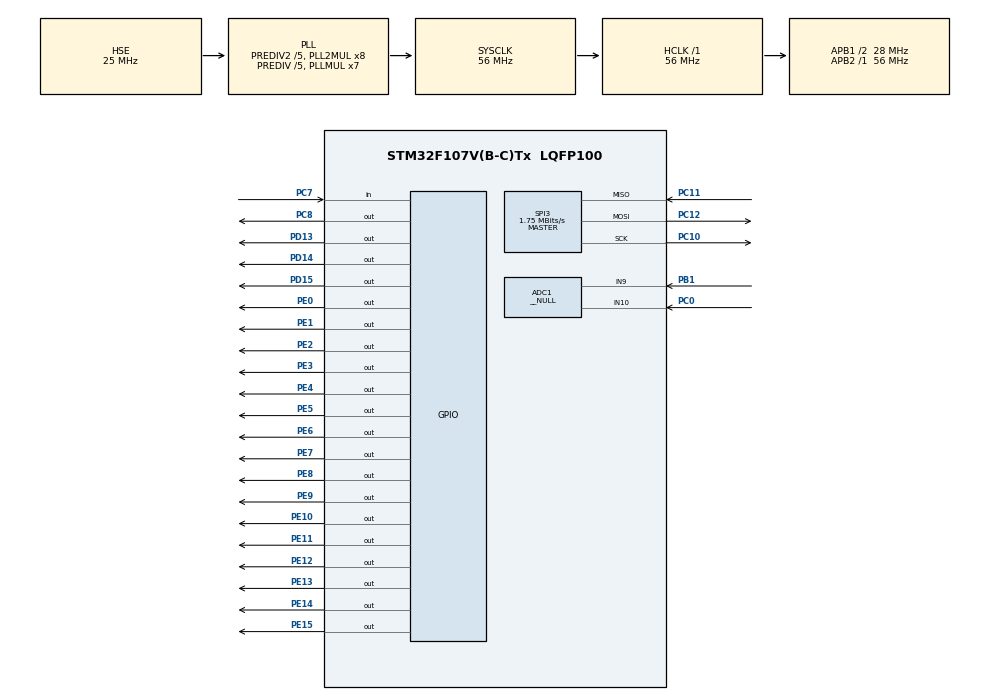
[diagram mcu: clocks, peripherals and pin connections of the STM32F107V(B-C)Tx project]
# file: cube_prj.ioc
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ADC1.Channel-0\#ChannelRegularConversion=ADC_CHANNEL_TEMPSENSOR
ADC1.Channel-1\#ChannelRegularConversion=ADC_CHANNEL_10
ADC1.Channel-2\#ChannelRegularConversion=ADC_CHANNEL_9
ADC1.ContinuousConvMode=ENABLE
ADC1.DataAlign=ADC_DATAALIGN_RIGHT
ADC1.DiscontinuousConvMode=DISABLE
ADC1.EnableAnalogWatchDog=false
ADC1.EnableRegularConversion=ENABLE
ADC1.ExternalTrigConvEdgeChoice=NONE
ADC1.InjNumberOfConversion=0
ADC1.Mode=__NULL
ADC1.NbrOfConversion=3
ADC1.NbrOfConversionFlag=1
ADC1.Rank-0\#ChannelRegularConversion=1
ADC1.Rank-1\#ChannelRegularConversion=2
ADC1.Rank-2\#ChannelRegularConversion=3
ADC1.SamplingTime-0\#ChannelRegularConversion=ADC_SAMPLETIME_239CYCLES_5
ADC1.SamplingTime-1\#ChannelRegularConversion=ADC_SAMPLETIME_239CYCLES_5
ADC1.SamplingTime-2\#ChannelRegularConversion=ADC_SAMPLETIME_239CYCLES_5
ADC1.ScanConvMode=ADC_SCAN_ENABLE
ADC1.master=1
Dma.ADC1.0.Direction=DMA_PERIPH_TO_MEMORY
Dma.ADC1.0.Instance=DMA1_Channel1
Dma.ADC1.0.MemDataAlignment=DMA_MDATAALIGN_HALFWORD
Dma.ADC1.0.MemInc=DMA_MINC_ENABLE
Dma.ADC1.0.Mode=DMA_CIRCULAR
Dma.ADC1.0.PeriphDataAlignment=DMA_PDATAALIGN_HALFWORD
Dma.ADC1.0.PeriphInc=DMA_PINC_DISABLE
Dma.ADC1.0.Priority=DMA_PRIORITY_MEDIUM
Dma.Request0=ADC1
FREERTOS.Tasks01=defaultTask,0,128,StartDefaultTask,Default;emwin_task,0,128,start_emwin_task,Default;ad_task,1,128,start_ad_task,Default
Mcu.Family=STM32F1
Mcu.Name=STM32F107V(B-C)Tx
Mcu.Package=LQFP100
NVIC.ADC1_2_IRQn=true\:5\:0\:false\:false\:true\:true
NVIC.DMA1_Channel1_IRQn=true\:5\:0\:false\:false\:true\:true
NVIC.PriorityGroup=NVIC_PRIORITYGROUP_4
NVIC.RTC_Alarm_IRQn=true\:5\:0\:false\:false\:true\:true
NVIC.RTC_IRQn=true\:5\:0\:false\:false\:true\:true
NVIC.SPI3_IRQn=true\:5\:0\:false\:false\:true\:true
NVIC.TIM6_IRQn=true\:5\:0\:true\:false\:true\:true
NVIC.TIM7_IRQn=true\:0\:0\:false\:false\:true\:false
NVIC.TimeBase=TIM7_IRQn
NVIC.TimeBaseIP=TIM7
OSC_IN.Mode=HSE-External-Oscillator
OSC_IN.Signal=RCC_OSC_IN
OSC_OUT.Mode=HSE-External-Oscillator
OSC_OUT.Signal=RCC_OSC_OUT
PA13.Mode=Serial_Wire
PA13.Signal=SYS_JTMS-SWDIO
PA14.Mode=Serial_Wire
PA14.Signal=SYS_JTCK-SWCLK
PB1.Signal=ADCx_IN9
PC0.Signal=ADCx_IN10
PC10.Mode=Full_Duplex_Master
PC10.Signal=SPI3_SCK
PC11.GPIO_PuPd=GPIO_PULLUP
PC11.Mode=Full_Duplex_Master
PC11.Signal=SPI3_MISO
PC12.Mode=Full_Duplex_Master
PC12.Signal=SPI3_MOSI
PC14-OSC32_IN.Mode=LSE-External-Oscillator
PC14-OSC32_IN.Signal=RCC_OSC32_IN
PC15-OSC32_OUT.Mode=LSE-External-Oscillator
PC15-OSC32_OUT.Signal=RCC_OSC32_OUT
PC7.Signal=GPIO_Input
PC8.GPIO_Speed=GPIO_SPEED_FREQ_HIGH
PC8.Signal=GPIO_Output
PD13.Signal=GPIO_Output
PD14.Signal=GPIO_Output
PD15.Signal=GPIO_Output
PE0.GPIO_Speed=GPIO_SPEED_FREQ_HIGH
PE0.Signal=GPIO_Output
PE1.GPIO_Speed=GPIO_SPEED_FREQ_HIGH
PE1.Signal=GPIO_Output
PE10.GPIO_Speed=GPIO_SPEED_FREQ_HIGH
PE10.Signal=GPIO_Output
PE11.GPIO_Speed=GPIO_SPEED_FREQ_HIGH
PE11.Signal=GPIO_Output
PE12.GPIO_Speed=GPIO_SPEED_FREQ_HIGH
PE12.Signal=GPIO_Output
PE13.GPIO_Speed=GPIO_SPEED_FREQ_HIGH
PE13.Signal=GPIO_Output
PE14.GPIO_Speed=GPIO_SPEED_FREQ_HIGH
PE14.Signal=GPIO_Output
PE15.GPIO_Speed=GPIO_SPEED_FREQ_HIGH
PE15.Signal=GPIO_Output
PE2.GPIO_Speed=GPIO_SPEED_FREQ_HIGH
PE2.Signal=GPIO_Output
PE3.GPIO_Speed=GPIO_SPEED_FREQ_HIGH
PE3.Signal=GPIO_Output
PE4.GPIO_Speed=GPIO_SPEED_FREQ_HIGH
PE4.Signal=GPIO_Output
PE5.GPIO_Speed=GPIO_SPEED_FREQ_HIGH
PE5.Signal=GPIO_Output
PE6.GPIO_Speed=GPIO_SPEED_FREQ_HIGH
PE6.Signal=GPIO_Output
PE7.GPIO_Speed=GPIO_SPEED_FREQ_HIGH
PE7.Signal=GPIO_Output
PE8.GPIO_Speed=GPIO_SPEED_FREQ_HIGH
PE8.Signal=GPIO_Output
PE9.GPIO_Speed=GPIO_SPEED_FREQ_HIGH
PE9.Signal=GPIO_Output
ProjectManager.HeapSize=0x400
ProjectManager.StackSize=0x800
ProjectManager.TargetToolchain=MDK-ARM V5
RCC.ADCPresc=RCC_ADCPCLK2_DIV4
RCC.AHBFreq_Value=56000000
RCC.APB1CLKDivider=RCC_HCLK_DIV2
RCC.APB1Freq_Value=28000000
RCC.APB1TimFreq_Value=56000000
RCC.APB2Freq_Value=56000000
RCC.APB2TimFreq_Value=56000000
RCC.HCLKFreq_Value=56000000
RCC.HSEDivPLL=RCC_HSE_PREDIV_DIV5
RCC.HSE_VALUE=25000000
RCC.HSIState=RCC_HSI_ON
RCC.PLLMUL=RCC_PLL_MUL7
RCC.PLLSourceVirtual=RCC_PLLSOURCE_HSE
RCC.Prediv1Source=RCC_PREDIV1_SOURCE_PLL2
RCC.Prediv2=RCC_HSE_PREDIV2_DIV5
RCC.SYSCLKFreq_VALUE=56000000
RCC.SYSCLKSource=RCC_SYSCLKSOURCE_PLLCLK
RCC.USBFreq_Value=37333333.333333336
RTC.AutoPrediv=RTC_AUTO_1_SECOND
RTC.Date=22
RTC.Format=RTC_FORMAT_BCD
RTC.Hours=2
RTC.Minutes=57
RTC.Month=RTC_MONTH_JULY
RTC.Seconds=0
RTC.WeekDay=RTC_WEEKDAY_SATURDAY
RTC.Year=16
SH.ADCx_IN10.0=ADC1_IN10,IN10
SH.ADCx_IN9.0=ADC1_IN9,IN9
SPI3.BaudRatePrescaler=SPI_BAUDRATEPRESCALER_16
SPI3.CLKPhase=SPI_PHASE_2EDGE
SPI3.CLKPolarity=SPI_POLARITY_HIGH
SPI3.CRCCalculation=SPI_CRCCALCULATION_DISABLE
SPI3.CalculateBaudRate=1.75 MBits/s
SPI3.Mode=SPI_MODE_MASTER
TIM6.Period=2
TIM6.Prescaler=35999
TIM6.TIM_MasterOutputTrigger=TIM_TRGO_UPDATE
VP_ADC1_TempSens_Input.Mode=IN-TempSens
VP_CRC_VS_CRC.Mode=CRC_Activate
VP_FREERTOS_VS_ENABLE.Mode=Enabled
VP_RTC_No_RTC_Output.Mode=RTC_OUT_NO
VP_SYS_VS_tim7.Mode=TIM7
VP_TIM6_VS_ClockSourceINT.Mode=Enable_Timer
board=cube_prj

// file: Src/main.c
/**
  ******************************************************************************
  * File Name          : main.c
  * Description        : Main program body
  ******************************************************************************
  *
  * COPYRIGHT(c) 2016 STMicroelectronics
  *
  * Redistribution and use in source and binary forms, with or without modification,
  * are permitted provided that the following conditions are met:
  *   1. Redistributions of source code must retain the above copyright notice,
  *      this list of conditions and the following disclaimer.
  *   2. Redistributions in binary form must reproduce the above copyright notice,
  *      this list of conditions and the following disclaimer in the documentation
  *      and/or other materials provided with the distribution.
  *   3. Neither the name of STMicroelectronics nor the names of its contributors
  *      may be used to endorse or promote products derived from this software
  *      without specific prior written permission.
  *
  * THIS SOFTWARE IS PROVIDED BY THE COPYRIGHT HOLDERS AND CONTRIBUTORS "AS IS"
  * AND ANY EXPRESS OR IMPLIED WARRANTIES, INCLUDING, BUT NOT LIMITED TO, THE
  * IMPLIED WARRANTIES OF MERCHANTABILITY AND FITNESS FOR A PARTICULAR PURPOSE ARE
  * DISCLAIMED. IN NO EVENT SHALL THE COPYRIGHT HOLDER OR CONTRIBUTORS BE LIABLE
  * FOR ANY DIRECT, INDIRECT, INCIDENTAL, SPECIAL, EXEMPLARY, OR CONSEQUENTIAL
  * DAMAGES (INCLUDING, BUT NOT LIMITED TO, PROCUREMENT OF SUBSTITUTE GOODS OR
  * SERVICES; LOSS OF USE, DATA, OR PROFITS; OR BUSINESS INTERRUPTION) HOWEVER
  * CAUSED AND ON ANY THEORY OF LIABILITY, WHETHER IN CONTRACT, STRICT LIABILITY,
  * OR TORT (INCLUDING NEGLIGENCE OR OTHERWISE) ARISING IN ANY WAY OUT OF THE USE
  * OF THIS SOFTWARE, EVEN IF ADVISED OF THE POSSIBILITY OF SUCH DAMAGE.
  *
  ******************************************************************************
  */
#include "stm32f1xx_hal.h"
#include "cmsis_os.h"
#include "adc.h"
#include "crc.h"
#include "dma.h"
#include "rtc.h"
#include "spi.h"
#include "tim.h"
#include "gpio.h"

/* USER CODE BEGIN Includes */
/** STemwin Includes */
#include "gui.h"
#include "guidemo.h"
/** user drivers  Includes */
#include "touch.h"
#include "delay.h"
//#include "led.h"
//#include "key.h"
//#include "exti_dup.h"
//#include "tim_dup.h"
//#include "oxygen.h"
/** user interface  Includes */
#include "start_window.h"
#include "adjust_time_window.h"
#include "measure_window.h"
#include "sys_info_window.h"
#include "ui_drivers.h"
#include "adc_app.h"

/* USER CODE END Includes */

/* USER CODE BEGIN PV */
/* Private variables ---------------------------------------------------------*/

/* USER CODE END PV */

void SystemClock_Config(void);
void Error_Handler(void);
void MX_FREERTOS_Init(void);

/* USER CODE BEGIN PFP */
/* Private function prototypes -----------------------------------------------*/
void touch_calibrate(void);
/* USER CODE END PFP */

/* USER CODE BEGIN 0 */
extern GUI_CONST_STORAGE GUI_FONT GUI_FontMicrosoftYaHeiMono28;
/* USER CODE END 0 */

int main(void)
{

  /* USER CODE BEGIN 1 */
//    uint16_t i = 0;

  /* USER CODE END 1 */

  /* MCU Configuration----------------------------------------------------------*/

  /* Reset of all peripherals, Initializes the Flash interface and the Systick. */
  HAL_Init();

  /* Configure the system clock */
  SystemClock_Config();

  /* Initialize all configured peripherals */
  MX_GPIO_Init();
  MX_DMA_Init();
  MX_CRC_Init();
  MX_SPI3_Init();
  MX_TIM6_Init();
  MX_RTC_Init();
  MX_ADC1_Init();

  /* USER CODE BEGIN 2 */
    HAL_TIM_Base_Start_IT(&htim6);

  /* USER CODE END 2 */

  /* Call init function for freertos objects (in freertos.c) */
  MX_FREERTOS_Init();

  /* Start scheduler */
  osKernelStart();

  /* We should never get here as control is now taken by the scheduler */

  /* Infinite loop */
    while (1)
    {

  /* USER CODE BEGIN 3 */
        GUI_Delay(50);

    }
  /* USER CODE END 3 */

}

/** System Clock Configuration
*/
void SystemClock_Config(void)
{

  RCC_OscInitTypeDef RCC_OscInitStruct;
  RCC_ClkInitTypeDef RCC_ClkInitStruct;
  RCC_PeriphCLKInitTypeDef PeriphClkInit;

  RCC_OscInitStruct.OscillatorType = RCC_OSCILLATORTYPE_LSI|RCC_OSCILLATORTYPE_HSE;
  RCC_OscInitStruct.HSEState = RCC_HSE_ON;
  RCC_OscInitStruct.HSEPredivValue = RCC_HSE_PREDIV_DIV5;
  RCC_OscInitStruct.LSIState = RCC_LSI_ON;
  RCC_OscInitStruct.Prediv1Source = RCC_PREDIV1_SOURCE_PLL2;
  RCC_OscInitStruct.PLL.PLLState = RCC_PLL_ON;
  RCC_OscInitStruct.PLL.PLLSource = RCC_PLLSOURCE_HSE;
  RCC_OscInitStruct.PLL.PLLMUL = RCC_PLL_MUL7;
  RCC_OscInitStruct.PLL2.PLL2State = RCC_PLL2_ON;
  RCC_OscInitStruct.PLL2.PLL2MUL = RCC_PLL2_MUL8;
  RCC_OscInitStruct.PLL2.HSEPrediv2Value = RCC_HSE_PREDIV2_DIV5;
  if (HAL_RCC_OscConfig(&RCC_OscInitStruct) != HAL_OK)
  {
    Error_Handler();
  }

  RCC_ClkInitStruct.ClockType = RCC_CLOCKTYPE_HCLK|RCC_CLOCKTYPE_SYSCLK
                              |RCC_CLOCKTYPE_PCLK1|RCC_CLOCKTYPE_PCLK2;
  RCC_ClkInitStruct.SYSCLKSource = RCC_SYSCLKSOURCE_PLLCLK;
  RCC_ClkInitStruct.AHBCLKDivider = RCC_SYSCLK_DIV1;
  RCC_ClkInitStruct.APB1CLKDivider = RCC_HCLK_DIV2;
  RCC_ClkInitStruct.APB2CLKDivider = RCC_HCLK_DIV1;
  if (HAL_RCC_ClockConfig(&RCC_ClkInitStruct, FLASH_LATENCY_2) != HAL_OK)
  {
    Error_Handler();
  }

  PeriphClkInit.PeriphClockSelection = RCC_PERIPHCLK_RTC|RCC_PERIPHCLK_ADC;
  PeriphClkInit.RTCClockSelection = RCC_RTCCLKSOURCE_LSI;
  PeriphClkInit.AdcClockSelection = RCC_ADCPCLK2_DIV4;
  if (HAL_RCCEx_PeriphCLKConfig(&PeriphClkInit) != HAL_OK)
  {
    Error_Handler();
  }

  HAL_SYSTICK_Config(HAL_RCC_GetHCLKFreq()/1000);

  HAL_SYSTICK_CLKSourceConfig(SYSTICK_CLKSOURCE_HCLK);

  __HAL_RCC_PLLI2S_ENABLE();

  /* SysTick_IRQn interrupt configuration */
  HAL_NVIC_SetPriority(SysTick_IRQn, 15, 0);
}

void HAL_TIM_PeriodElapsedCallback(TIM_HandleTypeDef *htim)
{
  if (htim->Instance == TIM7) {
    HAL_IncTick();
  }
}

void Error_Handler(void)
{
  while(1)
  {
  }
}

/************************ (C) COPYRIGHT STMicroelectronics *****END OF FILE****/

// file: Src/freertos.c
/**
  ******************************************************************************
  * File Name          : freertos.c
  * Description        : Code for freertos applications
  ******************************************************************************
  *
  * COPYRIGHT(c) 2016 STMicroelectronics
  *
  * Redistribution and use in source and binary forms, with or without modification,
  * are permitted provided that the following conditions are met:
  *   1. Redistributions of source code must retain the above copyright notice,
  *      this list of conditions and the following disclaimer.
  *   2. Redistributions in binary form must reproduce the above copyright notice,
  *      this list of conditions and the following disclaimer in the documentation
  *      and/or other materials provided with the distribution.
  *   3. Neither the name of STMicroelectronics nor the names of its contributors
  *      may be used to endorse or promote products derived from this software
  *      without specific prior written permission.
  *
  * THIS SOFTWARE IS PROVIDED BY THE COPYRIGHT HOLDERS AND CONTRIBUTORS "AS IS"
  * AND ANY EXPRESS OR IMPLIED WARRANTIES, INCLUDING, BUT NOT LIMITED TO, THE
  * IMPLIED WARRANTIES OF MERCHANTABILITY AND FITNESS FOR A PARTICULAR PURPOSE ARE
  * DISCLAIMED. IN NO EVENT SHALL THE COPYRIGHT HOLDER OR CONTRIBUTORS BE LIABLE
  * FOR ANY DIRECT, INDIRECT, INCIDENTAL, SPECIAL, EXEMPLARY, OR CONSEQUENTIAL
  * DAMAGES (INCLUDING, BUT NOT LIMITED TO, PROCUREMENT OF SUBSTITUTE GOODS OR
  * SERVICES; LOSS OF USE, DATA, OR PROFITS; OR BUSINESS INTERRUPTION) HOWEVER
  * CAUSED AND ON ANY THEORY OF LIABILITY, WHETHER IN CONTRACT, STRICT LIABILITY,
  * OR TORT (INCLUDING NEGLIGENCE OR OTHERWISE) ARISING IN ANY WAY OUT OF THE USE
  * OF THIS SOFTWARE, EVEN IF ADVISED OF THE POSSIBILITY OF SUCH DAMAGE.
  *
  ******************************************************************************
  */

#include "FreeRTOS.h"
#include "task.h"
#include "cmsis_os.h"

/* USER CODE BEGIN Includes */
#include "adc_app.h"
#include "ui_drivers.h"

/* USER CODE END Includes */

osThreadId defaultTaskHandle;
osThreadId emwin_taskHandle;
osThreadId ad_taskHandle;

void StartDefaultTask(void const * argument);
void start_emwin_task(void const * argument);
void start_ad_task(void const * argument);

void MX_FREERTOS_Init(void); /* (MISRA C 2004 rule 8.1) */

/* Hook prototypes */

/* Init FreeRTOS */

void MX_FREERTOS_Init(void) {

  /* Create the thread(s) */
  /* definition and creation of defaultTask */
  osThreadDef(defaultTask, StartDefaultTask, osPriorityNormal, 0, 128);
  defaultTaskHandle = osThreadCreate(osThread(defaultTask), NULL);

  /* definition and creation of emwin_task */
  osThreadDef(emwin_task, start_emwin_task, osPriorityNormal, 0, 128);
  emwin_taskHandle = osThreadCreate(osThread(emwin_task), NULL);

  /* definition and creation of ad_task */
  osThreadDef(ad_task, start_ad_task, osPriorityAboveNormal, 0, 128);
  ad_taskHandle = osThreadCreate(osThread(ad_task), NULL);

}

/* StartDefaultTask function */
void StartDefaultTask(void const * argument)
{

  for(;;)
  {
    osDelay(1);
  }
}

/* start_emwin_task function */
void start_emwin_task(void const * argument)
{
  /* USER CODE BEGIN start_emwin_task */
    user_interface_config();
  /* Infinite loop */
  for(;;)
  {

    osDelay(1);
  }
  /* USER CODE END start_emwin_task */
}

/* start_ad_task function */
void start_ad_task(void const * argument)
{
  /* USER CODE BEGIN start_ad_task */
    ADC_start_convert();
  /* Infinite loop */
  for(;;)
  {
    osDelay(1);
  }
  /* USER CODE END start_ad_task */
}

/************************ (C) COPYRIGHT STMicroelectronics *****END OF FILE****/
